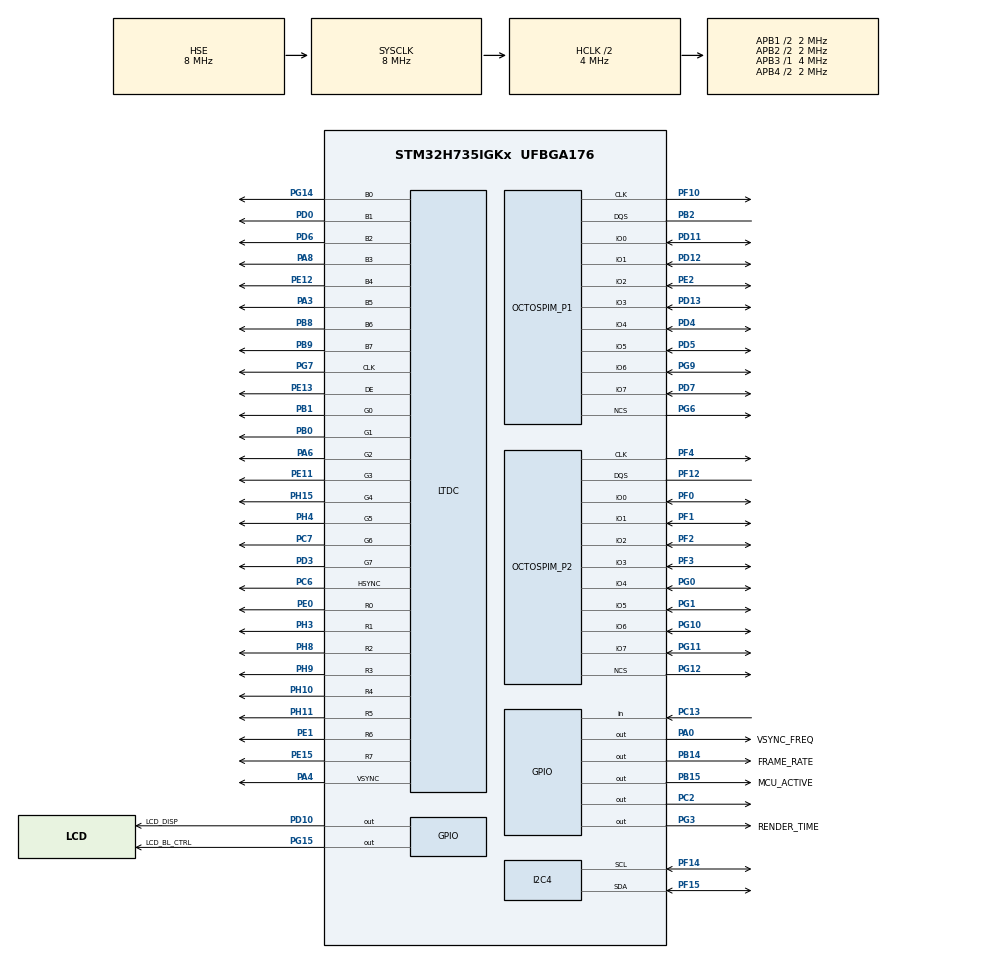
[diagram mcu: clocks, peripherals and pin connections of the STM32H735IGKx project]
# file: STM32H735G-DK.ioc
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CORTEX_M7.AccessPermission-Cortex_Memory_Protection_Unit_Region0_Settings=MPU_REGION_FULL_ACCESS
CORTEX_M7.AccessPermission-Cortex_Memory_Protection_Unit_Region2_Settings=MPU_REGION_FULL_ACCESS
CORTEX_M7.AccessPermission-Cortex_Memory_Protection_Unit_Region4_Settings=MPU_REGION_FULL_ACCESS
CORTEX_M7.BaseAddress-Cortex_Memory_Protection_Unit_Region0_Settings=0x24000000
CORTEX_M7.BaseAddress-Cortex_Memory_Protection_Unit_Region1_Settings=0x70000000
CORTEX_M7.BaseAddress-Cortex_Memory_Protection_Unit_Region2_Settings=0x70000000
CORTEX_M7.BaseAddress-Cortex_Memory_Protection_Unit_Region3_Settings=0x90000000
CORTEX_M7.BaseAddress-Cortex_Memory_Protection_Unit_Region4_Settings=0x90000000
CORTEX_M7.CPU_DCache=Enabled
CORTEX_M7.CPU_ICache=Enabled
CORTEX_M7.DisableExec-Cortex_Memory_Protection_Unit_Region0_Settings=MPU_INSTRUCTION_ACCESS_DISABLE
CORTEX_M7.DisableExec-Cortex_Memory_Protection_Unit_Region1_Settings=MPU_INSTRUCTION_ACCESS_DISABLE
CORTEX_M7.DisableExec-Cortex_Memory_Protection_Unit_Region2_Settings=MPU_INSTRUCTION_ACCESS_DISABLE
CORTEX_M7.DisableExec-Cortex_Memory_Protection_Unit_Region3_Settings=MPU_INSTRUCTION_ACCESS_DISABLE
CORTEX_M7.DisableExec-Cortex_Memory_Protection_Unit_Region4_Settings=MPU_INSTRUCTION_ACCESS_DISABLE
CORTEX_M7.Enable-Cortex_Memory_Protection_Unit_Region0_Settings=MPU_REGION_ENABLE
CORTEX_M7.Enable-Cortex_Memory_Protection_Unit_Region1_Settings=MPU_REGION_ENABLE
CORTEX_M7.Enable-Cortex_Memory_Protection_Unit_Region2_Settings=MPU_REGION_ENABLE
CORTEX_M7.Enable-Cortex_Memory_Protection_Unit_Region3_Settings=MPU_REGION_ENABLE
CORTEX_M7.Enable-Cortex_Memory_Protection_Unit_Region4_Settings=MPU_REGION_ENABLE
CORTEX_M7.IsBufferable-Cortex_Memory_Protection_Unit_Region0_Settings=MPU_ACCESS_BUFFERABLE
CORTEX_M7.IsBufferable-Cortex_Memory_Protection_Unit_Region2_Settings=MPU_ACCESS_BUFFERABLE
CORTEX_M7.IsCacheable-Cortex_Memory_Protection_Unit_Region0_Settings=MPU_ACCESS_CACHEABLE
CORTEX_M7.IsCacheable-Cortex_Memory_Protection_Unit_Region2_Settings=MPU_ACCESS_CACHEABLE
CORTEX_M7.IsCacheable-Cortex_Memory_Protection_Unit_Region4_Settings=MPU_ACCESS_CACHEABLE
CORTEX_M7.MPU_Control=MPU_PRIVILEGED_DEFAULT
CORTEX_M7.Size-Cortex_Memory_Protection_Unit_Region0_Settings=MPU_REGION_SIZE_512KB
CORTEX_M7.Size-Cortex_Memory_Protection_Unit_Region1_Settings=MPU_REGION_SIZE_512MB
CORTEX_M7.Size-Cortex_Memory_Protection_Unit_Region2_Settings=MPU_REGION_SIZE_8MB
CORTEX_M7.Size-Cortex_Memory_Protection_Unit_Region3_Settings=MPU_REGION_SIZE_512MB
CORTEX_M7.Size-Cortex_Memory_Protection_Unit_Region4_Settings=MPU_REGION_SIZE_64MB
DMA2D.ColorMode=DMA2D_OUTPUT_RGB888
DMA2D.Mode=DMA2D_R2M
FREERTOS.Tasks01=defaultTask,24,128,StartDefaultTask,Default,NULL,Dynamic,NULL,NULL;TouchGFXTask,24,1024,TouchGFX_Task,As external,NULL,Dynamic,NULL,NULL;videoTask,8,1024,videoTaskFunc,As external,NULL,Dynamic,NULL,NULL
FREERTOS.configTOTAL_HEAP_SIZE=75000
FREERTOS.configUSE_APPLICATION_TASK_TAG=1
FREERTOS.configUSE_IDLE_HOOK=1
I2C4.Timing=0x00000509
LIBJPEG.RGB_ORDERING=BGR
LTDC.ActiveH=272
LTDC.ActiveW=480
LTDC.Alpha_L0=255
LTDC.FBStartAdress_L0=0x70000000
LTDC.FBStartAdress_L1=0x70000000
LTDC.HBP=13
LTDC.HFP=32
LTDC.HSync=41
LTDC.ImageHeight_L0=272
LTDC.ImageWidth_L0=480
LTDC.Layers=0
LTDC.PixelFormat_L0=LTDC_PIXEL_FORMAT_RGB888
LTDC.VSync=10
LTDC.WindowX1_L0=480
LTDC.WindowY1_L0=272
Mcu.Family=STM32H7
Mcu.Name=STM32H735IGKx
Mcu.Package=UFBGA176
NVIC.DMA2D_IRQn=true\:5\:0\:true\:false\:true\:false\:true\:true\:true
NVIC.LTDC_IRQn=true\:5\:0\:true\:false\:true\:false\:true\:true\:true
NVIC.PVD_AVD_IRQn=true\:5\:0\:false\:false\:true\:true\:true\:true\:true
NVIC.PriorityGroup=NVIC_PRIORITYGROUP_4
NVIC.TIM6_DAC_IRQn=true\:0\:0\:false\:false\:true\:false\:false\:true\:true
NVIC.TimeBase=TIM6_DAC_IRQn
NVIC.TimeBaseIP=TIM6
OCTOSPI1.ChipSelectBoundary=0
OCTOSPI1.ChipSelectHighTime=2
OCTOSPI1.ClockPrescaler=2
OCTOSPI1.FifoThreshold=4
OCTOSPI1.MemoryType=HAL_OSPI_MEMTYPE_MACRONIX
OCTOSPI2.AccessTime=6
OCTOSPI2.ChipSelectBoundary=23
OCTOSPI2.ChipSelectHighTime=4
OCTOSPI2.ClkChipSelectHighTime=0
OCTOSPI2.ClockPrescaler=2
OCTOSPI2.DelayBlockBypass=HAL_OSPI_DELAY_BLOCK_USED
OCTOSPI2.DelayHoldQuarterCycle=HAL_OSPI_DHQC_ENABLE
OCTOSPI2.DeviceSize=24
OCTOSPI2.FifoThreshold=4
OCTOSPI2.LatencyMode=HAL_OSPI_FIXED_LATENCY
OCTOSPI2.RWRecoveryTime=3
OCTOSPI2.Refresh=400
OCTOSPI2.WriteZeroLatency=HAL_OSPI_LATENCY_ON_WRITE
PA0.GPIO_Label=VSYNC_FREQ
PA0.GPIO_Speed=GPIO_SPEED_FREQ_VERY_HIGH
PA0.Signal=GPIO_Output
PA3.GPIO_Speed=GPIO_SPEED_FREQ_VERY_HIGH
PA3.Mode=RGB888
PA3.Signal=LTDC_B5
PA4.GPIO_Speed=GPIO_SPEED_FREQ_VERY_HIGH
PA4.Mode=RGB888
PA4.Signal=LTDC_VSYNC
PA6.GPIO_Speed=GPIO_SPEED_FREQ_VERY_HIGH
PA6.Mode=RGB888
PA6.Signal=LTDC_G2
PA8.GPIO_Speed=GPIO_SPEED_FREQ_VERY_HIGH
PA8.Mode=RGB888
PA8.Signal=LTDC_B3
PB0.GPIO_Speed=GPIO_SPEED_FREQ_VERY_HIGH
PB0.Mode=RGB888
PB0.Signal=LTDC_G1
PB1.GPIO_Speed=GPIO_SPEED_FREQ_VERY_HIGH
PB1.Mode=RGB888
PB1.Signal=LTDC_G0
PB14.GPIO_Label=FRAME_RATE
PB14.GPIO_Speed=GPIO_SPEED_FREQ_VERY_HIGH
PB14.Signal=GPIO_Output
PB15.GPIO_Label=MCU_ACTIVE
PB15.GPIO_Speed=GPIO_SPEED_FREQ_VERY_HIGH
PB15.Signal=GPIO_Output
PB2.Mode=OCTOSPI1_Port1_DQS
PB2.Signal=OCTOSPIM_P1_DQS
PB8.GPIO_Speed=GPIO_SPEED_FREQ_VERY_HIGH
PB8.Mode=RGB888
PB8.Signal=LTDC_B6
PB9.GPIO_Speed=GPIO_SPEED_FREQ_VERY_HIGH
PB9.Mode=RGB888
PB9.Signal=LTDC_B7
PC13.Signal=GPIO_Input
PC2.PinState=GPIO_PIN_SET
PC2.Signal=GPIO_Output
PC6.GPIO_Speed=GPIO_SPEED_FREQ_VERY_HIGH
PC6.Mode=RGB888
PC6.Signal=LTDC_HSYNC
PC7.GPIO_Speed=GPIO_SPEED_FREQ_VERY_HIGH
PC7.Mode=RGB888
PC7.Signal=LTDC_G6
PD0.GPIO_Speed=GPIO_SPEED_FREQ_VERY_HIGH
PD0.Mode=RGB888
PD0.Signal=LTDC_B1
PD10.GPIO_Label=LCD_DISP
PD10.GPIO_PuPd=GPIO_NOPULL
PD10.GPIO_Speed=GPIO_SPEED_FREQ_LOW
PD10.PinState=GPIO_PIN_RESET
PD10.Signal=GPIO_Output
PD11.Mode=OCTOSPI1_IOL_Port1L
PD11.Signal=OCTOSPIM_P1_IO0
PD12.Mode=OCTOSPI1_IOL_Port1L
PD12.Signal=OCTOSPIM_P1_IO1
PD13.Mode=OCTOSPI1_IOL_Port1L
PD13.Signal=OCTOSPIM_P1_IO3
PD3.GPIO_Speed=GPIO_SPEED_FREQ_VERY_HIGH
PD3.Mode=RGB888
PD3.Signal=LTDC_G7
PD4.Mode=OCTOSPI1_IOH_Port1H
PD4.Signal=OCTOSPIM_P1_IO4
PD5.Mode=OCTOSPI1_IOH_Port1H
PD5.Signal=OCTOSPIM_P1_IO5
PD6.GPIO_Speed=GPIO_SPEED_FREQ_VERY_HIGH
PD6.Mode=RGB888
PD6.Signal=LTDC_B2
PD7.Mode=OCTOSPI1_IOH_Port1H
PD7.Signal=OCTOSPIM_P1_IO7
PE0.GPIO_Speed=GPIO_SPEED_FREQ_VERY_HIGH
PE0.Mode=RGB888
PE0.Signal=LTDC_R0
PE1.GPIO_Speed=GPIO_SPEED_FREQ_VERY_HIGH
PE1.Mode=RGB888
PE1.Signal=LTDC_R6
PE11.GPIO_Speed=GPIO_SPEED_FREQ_VERY_HIGH
PE11.Mode=RGB888
PE11.Signal=LTDC_G3
PE12.GPIO_Speed=GPIO_SPEED_FREQ_VERY_HIGH
PE12.Mode=RGB888
PE12.Signal=LTDC_B4
PE13.GPIO_Speed=GPIO_SPEED_FREQ_VERY_HIGH
PE13.Mode=RGB888
PE13.Signal=LTDC_DE
PE15.GPIO_Speed=GPIO_SPEED_FREQ_VERY_HIGH
PE15.Mode=RGB888
PE15.Signal=LTDC_R7
PE2.Mode=OCTOSPI1_IOL_Port1L
PE2.Signal=OCTOSPIM_P1_IO2
PF0.Mode=OCTOSPI2_IOL_Port2L
PF0.Signal=OCTOSPIM_P2_IO0
PF1.Mode=OCTOSPI2_IOL_Port2L
PF1.Signal=OCTOSPIM_P2_IO1
PF10.Mode=O1_P1_CLK
PF10.Signal=OCTOSPIM_P1_CLK
PF12.Mode=OCTOSPI2_Port2_DQS
PF12.Signal=OCTOSPIM_P2_DQS
PF14.Mode=I2C
PF14.Signal=I2C4_SCL
PF15.Mode=I2C
PF15.Signal=I2C4_SDA
PF2.Mode=OCTOSPI2_IOL_Port2L
PF2.Signal=OCTOSPIM_P2_IO2
PF3.Mode=OCTOSPI2_IOL_Port2L
PF3.Signal=OCTOSPIM_P2_IO3
PF4.Mode=O2_P2_CLK
PF4.Signal=OCTOSPIM_P2_CLK
PG0.Mode=OCTOSPI2_IOH_Port2H
PG0.Signal=OCTOSPIM_P2_IO4
PG1.Mode=OCTOSPI2_IOH_Port2H
PG1.Signal=OCTOSPIM_P2_IO5
PG10.Mode=OCTOSPI2_IOH_Port2H
PG10.Signal=OCTOSPIM_P2_IO6
PG11.Mode=OCTOSPI2_IOH_Port2H
PG11.Signal=OCTOSPIM_P2_IO7
PG12.Mode=OCTOSPI2_Port2_NCS
PG12.Signal=OCTOSPIM_P2_NCS
PG14.GPIO_Speed=GPIO_SPEED_FREQ_VERY_HIGH
PG14.Mode=RGB888
PG14.Signal=LTDC_B0
PG15.GPIO_Label=LCD_BL_CTRL
PG15.Signal=GPIO_Output
PG3.GPIO_Label=RENDER_TIME
PG3.GPIO_Speed=GPIO_SPEED_FREQ_VERY_HIGH
PG3.Signal=GPIO_Output
PG6.Mode=OCTOSPI1_Port1_NCS
PG6.Signal=OCTOSPIM_P1_NCS
PG7.GPIO_Speed=GPIO_SPEED_FREQ_VERY_HIGH
PG7.Mode=RGB888
PG7.Signal=LTDC_CLK
PG9.Mode=OCTOSPI1_IOH_Port1H
PG9.Signal=OCTOSPIM_P1_IO6
PH0-OSC_IN.Mode=HSE-External-Oscillator
PH0-OSC_IN.Signal=RCC_OSC_IN
PH1-OSC_OUT.Mode=HSE-External-Oscillator
PH1-OSC_OUT.Signal=RCC_OSC_OUT
PH10.GPIO_Speed=GPIO_SPEED_FREQ_VERY_HIGH
PH10.Mode=RGB888
PH10.Signal=LTDC_R4
PH11.GPIO_Speed=GPIO_SPEED_FREQ_VERY_HIGH
PH11.Mode=RGB888
PH11.Signal=LTDC_R5
PH15.GPIO_Speed=GPIO_SPEED_FREQ_VERY_HIGH
PH15.Mode=RGB888
PH15.Signal=LTDC_G4
PH3.GPIO_Speed=GPIO_SPEED_FREQ_VERY_HIGH
PH3.Mode=RGB888
PH3.Signal=LTDC_R1
PH4.GPIO_Speed=GPIO_SPEED_FREQ_VERY_HIGH
PH4.Mode=RGB888
PH4.Signal=LTDC_G5
PH8.GPIO_Speed=GPIO_SPEED_FREQ_VERY_HIGH
PH8.Mode=RGB888
PH8.Signal=LTDC_R2
PH9.GPIO_Speed=GPIO_SPEED_FREQ_VERY_HIGH
PH9.Mode=RGB888
PH9.Signal=LTDC_R3
ProjectManager.HeapSize=0x1000
ProjectManager.StackSize=0x1000
ProjectManager.TargetToolchain=STM32CubeIDE
RCC.ADCFreq_Value=75200000
RCC.APB1Freq_Value=2000000
RCC.APB2Freq_Value=2000000
RCC.APB3Freq_Value=4000000
RCC.APB4Freq_Value=2000000
RCC.CortexFreq_Value=8000000
RCC.D2PPRE1=RCC_APB1_DIV2
RCC.D2PPRE2=RCC_APB2_DIV2
RCC.D3PPRE=RCC_APB4_DIV2
RCC.DIVM1=1
RCC.DIVM2=5
RCC.DIVM3=25
RCC.DIVN1=60
RCC.DIVN2=94
RCC.DIVN3=288
RCC.DIVR3=30
RCC.HCLKFreq_Value=4000000
RCC.HPRE=RCC_HCLK_DIV2
RCC.HSE_VALUE=8000000
RCC.PLL2FRACN=0
RCC.PLL3FRACN=0
RCC.PLLFRACN=0
RCC.PLLSourceVirtual=RCC_PLLSOURCE_HSE
RCC.QSPICLockSelection=RCC_OSPICLKSOURCE_PLL2
RCC.SYSCLKFreq_VALUE=8000000
RCC.SYSCLKSource=RCC_SYSCLKSOURCE_HSE
RCC.SupplySource=PWR_DIRECT_SMPS_SUPPLY
RCC.USBFreq_Value=240000000
STMicroelectronics.X-CUBE-TOUCHGFX.4.24.1.ApplicationCcGraphicsJjApplication=TouchGFXOoGenerator
STMicroelectronics.X-CUBE-TOUCHGFX.4.24.1.tgfx_address1=0x70000000
STMicroelectronics.X-CUBE-TOUCHGFX.4.24.1.tgfx_address2=0x70060000
STMicroelectronics.X-CUBE-TOUCHGFX.4.24.1.tgfx_buffering_strategy=Double
STMicroelectronics.X-CUBE-TOUCHGFX.4.24.1.tgfx_display_interface=disp_ltdc
STMicroelectronics.X-CUBE-TOUCHGFX.4.24.1.tgfx_hardware_accelerator=dma_2d
STMicroelectronics.X-CUBE-TOUCHGFX.4.24.1.tgfx_location=Allocate
STMicroelectronics.X-CUBE-TOUCHGFX.4.24.1.tgfx_vector_fonts=Enabled
STMicroelectronics.X-CUBE-TOUCHGFX.4.24.1.tgfx_vector_rendering=Software
STMicroelectronics.X-CUBE-TOUCHGFX.4.24.1.tgfx_video=Software
STMicroelectronics.X-CUBE-TOUCHGFX.4.24.1.tgfx_video_buffer_format=RGB888\:3
STMicroelectronics.X-CUBE-TOUCHGFX.4.24.1.tgfx_video_height=272
STMicroelectronics.X-CUBE-TOUCHGFX.4.24.1.tgfx_video_strategy=1
STMicroelectronics.X-CUBE-TOUCHGFX.4.24.1.tgfx_video_width=480
STMicroelectronics.X-CUBE-TOUCHGFX.4.24.1.tgfx_vsync=vsync_ltdc
VP_CRC_VS_CRC.Mode=CRC_Activate
VP_DMA2D_VS_DMA2D.Mode=DMA2D_Activate
VP_FREERTOS_VS_CMSIS_V2.Mode=CMSIS_V2
VP_LIBJPEG_VS_JPEGLIB.Mode=Enabled
VP_MEMORYMAP_VS_MEMORYMAP.Mode=CurAppReg
VP_OCTOSPI1_VS_octo.Mode=octo_mode
VP_OCTOSPI2_VS_octo.Mode=hyperbus_mode
VP_STMicroelectronics.X-CUBE-TOUCHGFX_VS_GraphicsJjApplication_4.24.1.Mode=GraphicsJjApplication
VP_SYS_VS_tim6.Mode=TIM6
board=custom

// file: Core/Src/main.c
/* USER CODE BEGIN Header */
/**
  ******************************************************************************
  * @file           : main.c
  * @brief          : Main program body
  ******************************************************************************
  * @attention
  *
  * <h2><center>&copy; Copyright (c) 2020 STMicroelectronics.
  * All rights reserved.</center></h2>
  *
  * This software component is licensed by ST under Ultimate Liberty license
  * SLA0044, the "License"; You may not use this file except in compliance with
  * the License. You may obtain a copy of the License at:
  *                             www.st.com/SLA0044
  *
  ******************************************************************************
  */
/* USER CODE END Header */
#include "main.h"
#include "cmsis_os.h"
#include "libjpeg.h"
#include "app_touchgfx.h"
#include "../../../../STM32CubeIDE/Application/User/Core/PressureSensor.hpp"
#include <string.h>
#include <stdio.h>
#include "stm32h7xx.h"
#include "stm32h7xx_hal.h"
#include "stm32h7xx_hal_dma2d.h"
#include "stm32h7xx_hal_def.h"
#include <stdbool.h>
/* USER CODE BEGIN Includes */
#include "stm32h735g_discovery_ospi.h"

/* USER CODE END Includes */

CRC_HandleTypeDef hcrc;

DMA2D_HandleTypeDef hdma2d;

I2C_HandleTypeDef hi2c4;

LTDC_HandleTypeDef hltdc;

OSPI_HandleTypeDef hospi1;
OSPI_HandleTypeDef hospi2;

/* Definitions for defaultTask */
osThreadId_t defaultTaskHandle;

#define OUTPUT_MAX 15099494  // 90% of 24-bit max
#define OUTPUT_MIN 1677722   // 10% of 24-bit max
#define P_MAX 25           // Maximum pressure in psi (change as needed)
#define P_MIN 0           // Minimum pressure in psi (change as needed)

#define PRESSURE_THRESHOLD 250.0f  // threshold in mmHg

#define GRAPH_MAX_PIXEL 700   // Display y-axis range (0-100 pixels)

//for the buffer
#define MAX_DATA_POINTS 100  // Maximum number of points to store
#define DATA_UPDATE_RATE 100 // Update rate in milliseconds
#define DISPLAY_WINDOW 100      // Number of points to display at once
#define PSI_TO_MMHG 51.715  // Conversion factor from psi to mmHg

int32_t pressure = 0;
float calculated_pressure = 0.0;
uint16_t scaled_pressure = 0;     // Scaled pressure for display
// Global variable for scaled pressure
float pressure_mmhg = 0.0; // Add a global or local variable for mmHg
float Calibration_value = 0.0;

typedef struct {
   float pressure_values[MAX_DATA_POINTS];
   int write_index;
   int read_index;
   bool buffer_full;
 } PressureBuffer;
PressureBuffer pressure_buffer = {0};

// Definitions for PressureTask
osThreadId_t pressureTaskHandle;
const osThreadAttr_t pressureTask_attributes = {
  .name = "pressureTask",
  .stack_size = 128 * 4,
  .priority = (osPriority_t) osPriorityNormal,
};

const osThreadAttr_t defaultTask_attributes = {
  .name = "defaultTask",
  .stack_size = 128 * 4,
  .priority = (osPriority_t) osPriorityNormal,
};
/* Definitions for TouchGFXTask */
osThreadId_t TouchGFXTaskHandle;
const osThreadAttr_t TouchGFXTask_attributes = {
  .name = "TouchGFXTask",
  .stack_size = 1024 * 4,
  .priority = (osPriority_t) osPriorityNormal,
};
/* Definitions for videoTask */
osThreadId_t videoTaskHandle;
const osThreadAttr_t videoTask_attributes = {
  .name = "videoTask",
  .stack_size = 1024 * 4,
  .priority = (osPriority_t) osPriorityLow,
};
/* USER CODE BEGIN PV */
// Constants based on sensor specifications

/* USER CODE END PV */

void SystemClock_Config(void);
void PeriphCommonClock_Config(void);
static void MPU_Config(void);
static void MX_GPIO_Init(void);
static void MX_CRC_Init(void);
static void MX_DMA2D_Init(void);
static void MX_LTDC_Init(void);
static void MX_OCTOSPI1_Init(void);
static void MX_OCTOSPI2_Init(void);
static void MX_I2C4_Init(void);
void StartPressureTask(void *argument);
void ConvertToPressure(int32_t raw_output);
void CalibrateSensor();
uint16_t ScalePressureForDisplay(float pressure);
void StartDefaultTask(void *argument);
extern void TouchGFX_Task(void *argument);
extern void videoTaskFunc(void *argument);

/* USER CODE BEGIN PFP */
//static uint8_t screenOn = 1; // 1 = Screen on, 0 = Screen off

/* USER CODE END PFP */

int main(void)
{

  /* MPU Configuration--------------------------------------------------------*/  MPU_Config();

  /* Enable the CPU Cache */

  /* Enable I-Cache---------------------------------------------------------*/
  SCB_EnableICache();

  /* Enable D-Cache---------------------------------------------------------*/
  SCB_EnableDCache();

  /* MCU Configuration--------------------------------------------------------*/

  /* Reset of all peripherals, Initializes the Flash interface and the Systick. */
  HAL_Init();

  /* Configure the system clock */
  SystemClock_Config();

  /* Configure the peripherals common clocks */
  PeriphCommonClock_Config();

  /* Initialize all configured peripherals */
  MX_GPIO_Init();
  MX_CRC_Init();
  MX_DMA2D_Init();
  MX_LTDC_Init();
  MX_OCTOSPI1_Init();
  MX_OCTOSPI2_Init();
  MX_LIBJPEG_Init();
  MX_I2C4_Init();
  MX_TouchGFX_Init();
  /* Call PreOsInit function */
  MX_TouchGFX_PreOSInit();

  /* Init scheduler */
  osKernelInitialize();

  /* Create the thread(s) */
  /* creation of defaultTask */
  defaultTaskHandle = osThreadNew(StartDefaultTask, NULL, &defaultTask_attributes);

  /* creation of TouchGFXTask */
  TouchGFXTaskHandle = osThreadNew(TouchGFX_Task, NULL, &TouchGFXTask_attributes);

  /* creation of videoTask */
  videoTaskHandle = osThreadNew(videoTaskFunc, NULL, &videoTask_attributes);

  /* USER CODE BEGIN RTOS_THREADS */
  /* add threads, ... */
  // Create the Pressure Task
  pressureTaskHandle = osThreadNew(StartPressureTask, NULL, &pressureTask_attributes);

  /* USER CODE END RTOS_THREADS */

  /* Start scheduler */
  osKernelStart();

  /* We should never get here as control is now taken by the scheduler */

  /* Infinite loop */
  while (1)
  {

  }
}

void SystemClock_Config(void)
{
  RCC_OscInitTypeDef RCC_OscInitStruct = {0};
  RCC_ClkInitTypeDef RCC_ClkInitStruct = {0};

  /** Supply configuration update enable
  */
  HAL_PWREx_ConfigSupply(PWR_DIRECT_SMPS_SUPPLY);

  /** Configure the main internal regulator output voltage
  */
  __HAL_PWR_VOLTAGESCALING_CONFIG(PWR_REGULATOR_VOLTAGE_SCALE3);

  while(!__HAL_PWR_GET_FLAG(PWR_FLAG_VOSRDY)) {}

  /** Macro to configure the PLL clock source
  */
  __HAL_RCC_PLL_PLLSOURCE_CONFIG(RCC_PLLSOURCE_HSE);

  /** Initializes the RCC Oscillators according to the specified parameters
  * in the RCC_OscInitTypeDef structure.
  */
  RCC_OscInitStruct.OscillatorType = RCC_OSCILLATORTYPE_HSE;
  RCC_OscInitStruct.HSEState = RCC_HSE_ON;
  RCC_OscInitStruct.PLL.PLLState = RCC_PLL_NONE;
  if (HAL_RCC_OscConfig(&RCC_OscInitStruct) != HAL_OK)
  {
    Error_Handler();
  }

  /** Initializes the CPU, AHB and APB buses clocks
  */
  RCC_ClkInitStruct.ClockType = RCC_CLOCKTYPE_HCLK|RCC_CLOCKTYPE_SYSCLK
                              |RCC_CLOCKTYPE_PCLK1|RCC_CLOCKTYPE_PCLK2
                              |RCC_CLOCKTYPE_D3PCLK1|RCC_CLOCKTYPE_D1PCLK1;
  RCC_ClkInitStruct.SYSCLKSource = RCC_SYSCLKSOURCE_HSE;
  RCC_ClkInitStruct.SYSCLKDivider = RCC_SYSCLK_DIV1;
  RCC_ClkInitStruct.AHBCLKDivider = RCC_HCLK_DIV2;
  RCC_ClkInitStruct.APB3CLKDivider = RCC_APB3_DIV1;
  RCC_ClkInitStruct.APB1CLKDivider = RCC_APB1_DIV2;
  RCC_ClkInitStruct.APB2CLKDivider = RCC_APB2_DIV2;
  RCC_ClkInitStruct.APB4CLKDivider = RCC_APB4_DIV2;

  if (HAL_RCC_ClockConfig(&RCC_ClkInitStruct, FLASH_LATENCY_0) != HAL_OK)
  {
    Error_Handler();
  }
}

void PeriphCommonClock_Config(void)
{
  RCC_PeriphCLKInitTypeDef PeriphClkInitStruct = {0};

  /** Initializes the peripherals clock
  */
  PeriphClkInitStruct.PeriphClockSelection = RCC_PERIPHCLK_OSPI;
  PeriphClkInitStruct.PLL2.PLL2M = 5;
  PeriphClkInitStruct.PLL2.PLL2N = 94;
  PeriphClkInitStruct.PLL2.PLL2P = 2;
  PeriphClkInitStruct.PLL2.PLL2Q = 2;
  PeriphClkInitStruct.PLL2.PLL2R = 2;
  PeriphClkInitStruct.PLL2.PLL2RGE = RCC_PLL2VCIRANGE_0;
  PeriphClkInitStruct.PLL2.PLL2VCOSEL = RCC_PLL2VCOMEDIUM;
  PeriphClkInitStruct.PLL2.PLL2FRACN = 0;
  PeriphClkInitStruct.OspiClockSelection = RCC_OSPICLKSOURCE_PLL2;
  if (HAL_RCCEx_PeriphCLKConfig(&PeriphClkInitStruct) != HAL_OK)
  {
    Error_Handler();
  }
}

static void MX_CRC_Init(void)
{

  /* USER CODE BEGIN CRC_Init 1 */
	void EXTI15_10_IRQHandler(void) {
	    if (__HAL_GPIO_EXTI_GET_IT(GPIO_PIN_13) != RESET) {  // Check if EXTI triggered for PC13
	        __HAL_GPIO_EXTI_CLEAR_IT(GPIO_PIN_13);           // Clear the interrupt flag

	        toggleScreen();  // Call the toggle function
	    }
	}

  /* USER CODE END CRC_Init 1 */
  hcrc.Instance = CRC;
  hcrc.Init.DefaultPolynomialUse = DEFAULT_POLYNOMIAL_ENABLE;
  hcrc.Init.DefaultInitValueUse = DEFAULT_INIT_VALUE_ENABLE;
  hcrc.Init.InputDataInversionMode = CRC_INPUTDATA_INVERSION_NONE;
  hcrc.Init.OutputDataInversionMode = CRC_OUTPUTDATA_INVERSION_DISABLE;
  hcrc.InputDataFormat = CRC_INPUTDATA_FORMAT_BYTES;
  if (HAL_CRC_Init(&hcrc) != HAL_OK)
  {
    Error_Handler();
  }

}

static void MX_DMA2D_Init(void)
{

  hdma2d.Instance = DMA2D;
  hdma2d.Init.Mode = DMA2D_R2M;
  hdma2d.Init.ColorMode = DMA2D_OUTPUT_RGB888;
  hdma2d.Init.OutputOffset = 0;
  if (HAL_DMA2D_Init(&hdma2d) != HAL_OK)
  {
    Error_Handler();
  }

}

static void MX_I2C4_Init(void)
{

  hi2c4.Instance = I2C4;
  hi2c4.Init.Timing = 0x00000509;
  hi2c4.Init.OwnAddress1 = 0;
  hi2c4.Init.AddressingMode = I2C_ADDRESSINGMODE_7BIT;
  hi2c4.Init.DualAddressMode = I2C_DUALADDRESS_DISABLE;
  hi2c4.Init.OwnAddress2 = 0;
  hi2c4.Init.OwnAddress2Masks = I2C_OA2_NOMASK;
  hi2c4.Init.GeneralCallMode = I2C_GENERALCALL_DISABLE;
  hi2c4.Init.NoStretchMode = I2C_NOSTRETCH_DISABLE;
  if (HAL_I2C_Init(&hi2c4) != HAL_OK)
  {
    Error_Handler();
  }

  /** Configure Analogue filter
  */
  if (HAL_I2CEx_ConfigAnalogFilter(&hi2c4, I2C_ANALOGFILTER_ENABLE) != HAL_OK)
  {
    Error_Handler();
  }

  /** Configure Digital filter
  */
  if (HAL_I2CEx_ConfigDigitalFilter(&hi2c4, 0) != HAL_OK)
  {
    Error_Handler();
  }

}

static void MX_LTDC_Init(void)
{

  LTDC_LayerCfgTypeDef pLayerCfg = {0};

  hltdc.Instance = LTDC;
  hltdc.Init.HSPolarity = LTDC_HSPOLARITY_AL;
  hltdc.Init.VSPolarity = LTDC_VSPOLARITY_AL;
  hltdc.Init.DEPolarity = LTDC_DEPOLARITY_AL;
  hltdc.Init.PCPolarity = LTDC_PCPOLARITY_IPC;
  hltdc.Init.HorizontalSync = 40;
  hltdc.Init.VerticalSync = 9;
  hltdc.Init.AccumulatedHBP = 53;
  hltdc.Init.AccumulatedVBP = 11;
  hltdc.Init.AccumulatedActiveW = 533;
  hltdc.Init.AccumulatedActiveH = 283;
  hltdc.Init.TotalWidth = 565;
  hltdc.Init.TotalHeigh = 285;
  hltdc.Init.Backcolor.Blue = 0;
  hltdc.Init.Backcolor.Green = 0;
  hltdc.Init.Backcolor.Red = 0;
  if (HAL_LTDC_Init(&hltdc) != HAL_OK)
  {
    Error_Handler();
  }
  pLayerCfg.WindowX0 = 0;
  pLayerCfg.WindowX1 = 480;
  pLayerCfg.WindowY0 = 0;
  pLayerCfg.WindowY1 = 272;
  pLayerCfg.PixelFormat = LTDC_PIXEL_FORMAT_RGB888;
  pLayerCfg.Alpha = 255;
  pLayerCfg.Alpha0 = 0;
  pLayerCfg.BlendingFactor1 = LTDC_BLENDING_FACTOR1_CA;
  pLayerCfg.BlendingFactor2 = LTDC_BLENDING_FACTOR2_CA;
  pLayerCfg.FBStartAdress = 0x70000000;
  pLayerCfg.ImageWidth = 480;
  pLayerCfg.ImageHeight = 272;
  pLayerCfg.Backcolor.Blue = 0;
  pLayerCfg.Backcolor.Green = 0;
  pLayerCfg.Backcolor.Red = 0;
  if (HAL_LTDC_ConfigLayer(&hltdc, &pLayerCfg, 0) != HAL_OK)
  {
    Error_Handler();
  }

}

static void MX_OCTOSPI1_Init(void)
{

  /* USER CODE BEGIN OCTOSPI1_Init 0 */
  BSP_OSPI_NOR_Init_t ospi_nor_int;
  /* USER CODE END OCTOSPI1_Init 0 */

  OSPIM_CfgTypeDef sOspiManagerCfg = {0};

  /* OCTOSPI1 parameter configuration*/
  hospi1.Instance = OCTOSPI1;
  hospi1.Init.FifoThreshold = 4;
  hospi1.Init.DualQuad = HAL_OSPI_DUALQUAD_DISABLE;
  hospi1.Init.MemoryType = HAL_OSPI_MEMTYPE_MACRONIX;
  hospi1.Init.DeviceSize = 32;
  hospi1.Init.ChipSelectHighTime = 2;
  hospi1.Init.FreeRunningClock = HAL_OSPI_FREERUNCLK_DISABLE;
  hospi1.Init.ClockMode = HAL_OSPI_CLOCK_MODE_0;
  hospi1.Init.WrapSize = HAL_OSPI_WRAP_NOT_SUPPORTED;
  hospi1.Init.ClockPrescaler = 2;
  hospi1.Init.SampleShifting = HAL_OSPI_SAMPLE_SHIFTING_NONE;
  hospi1.Init.DelayHoldQuarterCycle = HAL_OSPI_DHQC_DISABLE;
  hospi1.Init.ChipSelectBoundary = 0;
  hospi1.Init.DelayBlockBypass = HAL_OSPI_DELAY_BLOCK_BYPASSED;
  hospi1.Init.MaxTran = 0;
  hospi1.Init.Refresh = 0;
  if (HAL_OSPI_Init(&hospi1) != HAL_OK)
  {
    Error_Handler();
  }
  sOspiManagerCfg.ClkPort = 1;
  sOspiManagerCfg.DQSPort = 1;
  sOspiManagerCfg.NCSPort = 1;
  sOspiManagerCfg.IOLowPort = HAL_OSPIM_IOPORT_1_LOW;
  sOspiManagerCfg.IOHighPort = HAL_OSPIM_IOPORT_1_HIGH;
  if (HAL_OSPIM_Config(&hospi1, &sOspiManagerCfg, HAL_OSPI_TIMEOUT_DEFAULT_VALUE) != HAL_OK)
  {
    Error_Handler();
  }
  /* USER CODE BEGIN OCTOSPI1_Init 2 */
  HAL_OSPI_DeInit(&hospi1);
  ospi_nor_int.InterfaceMode = BSP_OSPI_NOR_OPI_MODE;
  ospi_nor_int.TransferRate  = BSP_OSPI_NOR_DTR_TRANSFER;
  BSP_OSPI_NOR_DeInit(0);
  if(BSP_OSPI_NOR_Init(0, &ospi_nor_int) != BSP_ERROR_NONE)
  {
    Error_Handler();
  }
  if(BSP_OSPI_NOR_EnableMemoryMappedMode(0) != BSP_ERROR_NONE)
  {
    Error_Handler();
  }
  /* USER CODE END OCTOSPI1_Init 2 */

}

static void MX_OCTOSPI2_Init(void)
{

  /* USER CODE BEGIN OCTOSPI2_Init 0 */
  BSP_OSPI_RAM_Init_t ospi_ram_init;
  /* USER CODE END OCTOSPI2_Init 0 */

  OSPIM_CfgTypeDef sOspiManagerCfg = {0};
  OSPI_HyperbusCfgTypeDef sHyperBusCfg = {0};

  /* USER CODE BEGIN OCTOSPI2_Init 1 */
  OSPI_HyperbusCmdTypeDef sCommand = {0};
  OSPI_MemoryMappedTypeDef sMemMappedCfg = {0};
  /* USER CODE END OCTOSPI2_Init 1 */
  /* OCTOSPI2 parameter configuration*/
  hospi2.Instance = OCTOSPI2;
  hospi2.Init.FifoThreshold = 4;
  hospi2.Init.DualQuad = HAL_OSPI_DUALQUAD_DISABLE;
  hospi2.Init.MemoryType = HAL_OSPI_MEMTYPE_HYPERBUS;
  hospi2.Init.DeviceSize = 24;
  hospi2.Init.ChipSelectHighTime = 4;
  hospi2.Init.FreeRunningClock = HAL_OSPI_FREERUNCLK_DISABLE;
  hospi2.Init.ClockMode = HAL_OSPI_CLOCK_MODE_0;
  hospi2.Init.WrapSize = HAL_OSPI_WRAP_NOT_SUPPORTED;
  hospi2.Init.ClockPrescaler = 2;
  hospi2.Init.SampleShifting = HAL_OSPI_SAMPLE_SHIFTING_NONE;
  hospi2.Init.DelayHoldQuarterCycle = HAL_OSPI_DHQC_ENABLE;
  hospi2.Init.ChipSelectBoundary = 23;
  hospi2.Init.DelayBlockBypass = HAL_OSPI_DELAY_BLOCK_USED;
  hospi2.Init.MaxTran = 0;
  hospi2.Init.Refresh = 400;
  if (HAL_OSPI_Init(&hospi2) != HAL_OK)
  {
    Error_Handler();
  }
  sOspiManagerCfg.ClkPort = 2;
  sOspiManagerCfg.DQSPort = 2;
  sOspiManagerCfg.NCSPort = 2;
  sOspiManagerCfg.IOLowPort = HAL_OSPIM_IOPORT_2_LOW;
  sOspiManagerCfg.IOHighPort = HAL_OSPIM_IOPORT_2_HIGH;
  if (HAL_OSPIM_Config(&hospi2, &sOspiManagerCfg, HAL_OSPI_TIMEOUT_DEFAULT_VALUE) != HAL_OK)
  {
    Error_Handler();
  }
  sHyperBusCfg.RWRecoveryTime = 3;
  sHyperBusCfg.AccessTime = 6;
  sHyperBusCfg.WriteZeroLatency = HAL_OSPI_LATENCY_ON_WRITE;
  sHyperBusCfg.LatencyMode = HAL_OSPI_FIXED_LATENCY;
  if (HAL_OSPI_HyperbusCfg(&hospi2, &sHyperBusCfg, HAL_OSPI_TIMEOUT_DEFAULT_VALUE) != HAL_OK)
  {
    Error_Handler();
  }
  /* USER CODE BEGIN OCTOSPI2_Init 2 */
  sCommand.AddressSpace = HAL_OSPI_MEMORY_ADDRESS_SPACE;
  sCommand.AddressSize  = HAL_OSPI_ADDRESS_32_BITS;
  sCommand.DQSMode      = HAL_OSPI_DQS_ENABLE;
  sCommand.Address      = 0;
  sCommand.NbData       = 1;

  if (HAL_OSPI_HyperbusCmd(&hospi2, &sCommand, HAL_OSPI_TIMEOUT_DEFAULT_VALUE) != HAL_OK)
  {
    Error_Handler();
  }

  sMemMappedCfg.TimeOutActivation = HAL_OSPI_TIMEOUT_COUNTER_DISABLE;

  if (HAL_OSPI_MemoryMapped(&hospi2, &sMemMappedCfg) != HAL_OK)
  {
    Error_Handler();
  }

  /* USER CODE END OCTOSPI2_Init 2 */

}

static void MX_GPIO_Init(void)
{
  GPIO_InitTypeDef GPIO_InitStruct = {0};

  /* GPIO Ports Clock Enable */
  __HAL_RCC_GPIOB_CLK_ENABLE();
  __HAL_RCC_GPIOG_CLK_ENABLE();
  __HAL_RCC_GPIOD_CLK_ENABLE();
  __HAL_RCC_GPIOE_CLK_ENABLE();
  __HAL_RCC_GPIOA_CLK_ENABLE();
  __HAL_RCC_GPIOC_CLK_ENABLE();
  __HAL_RCC_GPIOH_CLK_ENABLE();
  __HAL_RCC_GPIOF_CLK_ENABLE();

  /*Configure GPIO pin Output Level */
  HAL_GPIO_WritePin(GPIOG, LCD_BL_CTRL_Pin|RENDER_TIME_Pin, GPIO_PIN_RESET);

  /*Configure GPIO pin Output Level */
  HAL_GPIO_WritePin(GPIOB, MCU_ACTIVE_Pin|FRAME_RATE_Pin, GPIO_PIN_RESET);

  /*Configure GPIO pin Output Level */
  HAL_GPIO_WritePin(LCD_DISP_GPIO_Port, LCD_DISP_Pin, GPIO_PIN_RESET);

  /*Configure GPIO pin Output Level */
  HAL_GPIO_WritePin(GPIOC, GPIO_PIN_2, GPIO_PIN_SET);

  /*Configure GPIO pin Output Level */
  HAL_GPIO_WritePin(VSYNC_FREQ_GPIO_Port, VSYNC_FREQ_Pin, GPIO_PIN_RESET);

  /*Configure GPIO pin : PC13 */
  GPIO_InitStruct.Pin = GPIO_PIN_13;
  GPIO_InitStruct.Mode = GPIO_MODE_INPUT;
  GPIO_InitStruct.Pull = GPIO_NOPULL;
  HAL_GPIO_Init(GPIOC, &GPIO_InitStruct);

  /*Configure GPIO pin : LCD_BL_CTRL_Pin */
  GPIO_InitStruct.Pin = LCD_BL_CTRL_Pin;
  GPIO_InitStruct.Mode = GPIO_MODE_OUTPUT_PP;
  GPIO_InitStruct.Pull = GPIO_NOPULL;
  GPIO_InitStruct.Speed = GPIO_SPEED_FREQ_LOW;
  HAL_GPIO_Init(LCD_BL_CTRL_GPIO_Port, &GPIO_InitStruct);

  /*Configure GPIO pin : RENDER_TIME_Pin */
  GPIO_InitStruct.Pin = RENDER_TIME_Pin;
  GPIO_InitStruct.Mode = GPIO_MODE_OUTPUT_PP;
  GPIO_InitStruct.Pull = GPIO_NOPULL;
  GPIO_InitStruct.Speed = GPIO_SPEED_FREQ_VERY_HIGH;
  HAL_GPIO_Init(RENDER_TIME_GPIO_Port, &GPIO_InitStruct);

  /*Configure GPIO pins : MCU_ACTIVE_Pin FRAME_RATE_Pin */
  GPIO_InitStruct.Pin = MCU_ACTIVE_Pin|FRAME_RATE_Pin;
  GPIO_InitStruct.Mode = GPIO_MODE_OUTPUT_PP;
  GPIO_InitStruct.Pull = GPIO_NOPULL;
  GPIO_InitStruct.Speed = GPIO_SPEED_FREQ_VERY_HIGH;
  HAL_GPIO_Init(GPIOB, &GPIO_InitStruct);

  /*Configure GPIO pin : LCD_DISP_Pin */
  GPIO_InitStruct.Pin = LCD_DISP_Pin;
  GPIO_InitStruct.Mode = GPIO_MODE_OUTPUT_PP;
  GPIO_InitStruct.Pull = GPIO_NOPULL;
  GPIO_InitStruct.Speed = GPIO_SPEED_FREQ_LOW;
  HAL_GPIO_Init(LCD_DISP_GPIO_Port, &GPIO_InitStruct);

  /*Configure GPIO pin : PC2 LED*/
  GPIO_InitStruct.Pin = GPIO_PIN_2;
  GPIO_InitStruct.Mode = GPIO_MODE_OUTPUT_PP;
  GPIO_InitStruct.Pull = GPIO_NOPULL;
  GPIO_InitStruct.Speed = GPIO_SPEED_FREQ_LOW;
  HAL_GPIO_Init(GPIOC, &GPIO_InitStruct);
  /* Initialize the LED to OFF */
  HAL_GPIO_WritePin(GPIOC, GPIO_PIN_2, GPIO_PIN_RESET);

  /*Configure GPIO pin : VSYNC_FREQ_Pin */
  GPIO_InitStruct.Pin = VSYNC_FREQ_Pin;
  GPIO_InitStruct.Mode = GPIO_MODE_OUTPUT_PP;
  GPIO_InitStruct.Pull = GPIO_NOPULL;
  GPIO_InitStruct.Speed = GPIO_SPEED_FREQ_VERY_HIGH;
  HAL_GPIO_Init(VSYNC_FREQ_GPIO_Port, &GPIO_InitStruct);

/* USER CODE BEGIN MX_GPIO_Init_2 */
  // Configure GPIO pin for Button B2

  GPIO_InitStruct.Pin = GPIO_PIN_13;
  GPIO_InitStruct.Mode = GPIO_MODE_IT_FALLING;
  GPIO_InitStruct.Pull = GPIO_PULLUP;
  HAL_GPIO_Init(GPIOC, &GPIO_InitStruct);

  // Enable and set EXTI Line interrupt priority
  HAL_NVIC_SetPriority(EXTI15_10_IRQn, 2, 0);
  HAL_NVIC_EnableIRQ(EXTI15_10_IRQn);
/* USER CODE END MX_GPIO_Init_2 */
}

/* USER CODE BEGIN 4 */

void ResetPressureBuffer(void) {
   memset(&pressure_buffer, 0, sizeof(PressureBuffer));
}
// Add this function after other function declarations
void UpdatePressureBuffer(float new_pressure) {
   // Store the new pressure value
   pressure_buffer.pressure_values[pressure_buffer.write_index] = new_pressure;

   // Update write index
   pressure_buffer.write_index = (pressure_buffer.write_index + 1) % MAX_DATA_POINTS;

   // Update read index to maintain sliding window
   if (pressure_buffer.buffer_full) {
       pressure_buffer.read_index = (pressure_buffer.write_index + 1) % MAX_DATA_POINTS;
   }

   // Set buffer full flag if we've wrapped around
   if (pressure_buffer.write_index == 0) {
       pressure_buffer.buffer_full = true;
   }
}

int GetPressureHistory(float* output, int num_points) {
   if (num_points > MAX_DATA_POINTS) {
       num_points = MAX_DATA_POINTS;
   }

   int available_points = pressure_buffer.buffer_full ?
       MAX_DATA_POINTS : pressure_buffer.write_index;

   if (num_points > available_points) {
       num_points = available_points;
   }

   for (int i = 0; i < num_points; i++) {
       int read_index = (pressure_buffer.write_index - num_points + i + MAX_DATA_POINTS) % MAX_DATA_POINTS;
       output[i] = pressure_buffer.pressure_values[read_index];
   }

   return num_points;

}

// This function reads data from the pressure sensor over I2C
void ReadPressureData(void)
{

	uint8_t slave_address = 0x18 << 1;  // Shift left for 7-bit addressing mode
    uint8_t data_to_send[3] = {0xAA, 0x00,0x00};  // Data to send, to trigger a pressure reading
    // Buffer to store the response from the sensor (status byte + 3 data bytes)
    uint8_t data_buffer[4];

    // Transmit data to the I2C slave, // Send the command to the sensor
    if (HAL_I2C_Master_Transmit(&hi2c4, slave_address, data_to_send, sizeof(data_to_send), HAL_MAX_DELAY) == HAL_OK)
    {

    }

    // Wait for sensor to process the request (20 ms delay
    vTaskDelay(20);

    // Receive the response from the sensor
    if (HAL_I2C_Master_Receive(&hi2c4, slave_address, data_buffer, sizeof(data_buffer), HAL_MAX_DELAY) == HAL_OK)
    {
    	// Check if the busy flag is cleared in the status byte (Bit 5 AND 6 is 0)
        if (((data_buffer[0] & 0x20) == 0) &&(data_buffer[0] & 0x40))
        {
        	// Combine the data bytes into a 24-bit pressure value and store it in the global variable
        	pressure =  (data_buffer[1] << 16) | (data_buffer[2] << 8) | data_buffer[3];
        	ConvertToPressure(pressure);  // Convert raw data to pressure value
//            if(calculated_pressure < 0 )
//            	vTaskDelay(1);

        }
    }

}

// Convert raw data to pressure in psi
void ConvertToPressure(int32_t raw_output) {

    calculated_pressure = ((float)(raw_output - OUTPUT_MIN) / (OUTPUT_MAX - OUTPUT_MIN)) * (P_MAX - P_MIN) + P_MIN;

    // Convert to mmHg for further use
    pressure_mmhg = ConvertPressureToMMHg(calculated_pressure)-Calibration_value;

    // testing in the expressions window
    volatile float converted_pressure_psi = calculated_pressure;
    volatile float converted_pressure_mmhg = pressure_mmhg;
}
void CalibrateSensor() {
    // Perform this at atmospheric pressure
    Calibration_value = ConvertPressureToMMHg(calculated_pressure);
}

float ConvertPressureToMMHg(float pressure_psi) {
	return pressure_psi*PSI_TO_MMHG;
}

// Scale pressure for display on a 0-100 pixel graph
uint16_t ScalePressureForDisplay(float pressure) {
    float display_pressure = (pressure - P_MIN) / (P_MAX - P_MIN) * GRAPH_MAX_PIXEL;
    return (uint16_t)display_pressure;

}

// Task to continuously read pressure data from the sensor
void StartPressureTask(void *argument)
{
   ResetPressureBuffer();
//	ReadPressureData();  // Read raw pressure data into pressure
//	ReadPressureData();  // Read raw pressure data into pressure
//	ReadPressureData();  // Read raw pressure data into pressure
	Calibration_value = pressure_mmhg;
    for(;;)
    {

    	// Call the function to read pressure data and store in the global pressure variable
    	ReadPressureData();  // Read raw pressure data into pressure

    	ConvertToPressure(pressure);  // Convert raw data to psi
        // Update the circular buffer with new pressure value

    	// Control LED
    	if (pressure_mmhg >= PRESSURE_THRESHOLD)
    	{
    		HAL_GPIO_WritePin(GPIOC, GPIO_PIN_2, GPIO_PIN_SET);  // Turn LED ON
    		 volatile float debug_pressure = pressure_mmhg;
    	}
    	else
    	{
    		HAL_GPIO_WritePin(GPIOC, GPIO_PIN_2, GPIO_PIN_RESET);  // Turn LED OFF

    	}

        UpdatePressureBuffer(calculated_pressure);

    	// Convert calculated pressure to display scale
        //	scaled_pressure = ScalePressureForDisplay(calculated_pressure);  // Scale for display range
    	pressure_mmhg = ConvertPressureToMMHg(calculated_pressure); // Convert to mmHg
    	//	scaled_pressure = ScalePressureForDisplay(pressure_mmhg); // Scale for graph display

       // Optional: Reset buffer if it gets stuck
       if (pressure_buffer.write_index >= MAX_DATA_POINTS) {
           ResetPressureBuffer();
       }
        // Delay between readings (e.g., 100 ms)
        osDelay(pdMS_TO_TICKS(100));
    }
}

/* USER CODE END 4 */

void StartDefaultTask(void *argument)
{
  /* USER CODE BEGIN 5 */

  /* Infinite loop */
  for(;;)
  {

	  // Delay between reads (e.g., 100 ms for real-time reading)
	  osDelay(100);

  }
  /* USER CODE END 5 */
}

 /* MPU Configuration */

void MPU_Config(void)
{
  MPU_Region_InitTypeDef MPU_InitStruct = {0};

  /* Disables the MPU */
  HAL_MPU_Disable();

  /** Initializes and configures the Region and the memory to be protected
  */
  MPU_InitStruct.Enable = MPU_REGION_ENABLE;
  MPU_InitStruct.Number = MPU_REGION_NUMBER0;
  MPU_InitStruct.BaseAddress = 0x24000000;
  MPU_InitStruct.Size = MPU_REGION_SIZE_512KB;
  MPU_InitStruct.SubRegionDisable = 0x0;
  MPU_InitStruct.TypeExtField = MPU_TEX_LEVEL0;
  MPU_InitStruct.AccessPermission = MPU_REGION_FULL_ACCESS;
  MPU_InitStruct.DisableExec = MPU_INSTRUCTION_ACCESS_DISABLE;
  MPU_InitStruct.IsShareable = MPU_ACCESS_NOT_SHAREABLE;
  MPU_InitStruct.IsCacheable = MPU_ACCESS_CACHEABLE;
  MPU_InitStruct.IsBufferable = MPU_ACCESS_BUFFERABLE;

  HAL_MPU_ConfigRegion(&MPU_InitStruct);

  /** Initializes and configures the Region and the memory to be protected
  */
  MPU_InitStruct.Number = MPU_REGION_NUMBER1;
  MPU_InitStruct.BaseAddress = 0x70000000;
  MPU_InitStruct.Size = MPU_REGION_SIZE_512MB;
  MPU_InitStruct.AccessPermission = MPU_REGION_NO_ACCESS;
  MPU_InitStruct.IsCacheable = MPU_ACCESS_NOT_CACHEABLE;
  MPU_InitStruct.IsBufferable = MPU_ACCESS_NOT_BUFFERABLE;

  HAL_MPU_ConfigRegion(&MPU_InitStruct);

  /** Initializes and configures the Region and the memory to be protected
  */
  MPU_InitStruct.Number = MPU_REGION_NUMBER2;
  MPU_InitStruct.Size = MPU_REGION_SIZE_8MB;
  MPU_InitStruct.AccessPermission = MPU_REGION_FULL_ACCESS;
  MPU_InitStruct.IsCacheable = MPU_ACCESS_CACHEABLE;
  MPU_InitStruct.IsBufferable = MPU_ACCESS_BUFFERABLE;

  HAL_MPU_ConfigRegion(&MPU_InitStruct);

  /** Initializes and configures the Region and the memory to be protected
  */
  MPU_InitStruct.Number = MPU_REGION_NUMBER3;
  MPU_InitStruct.BaseAddress = 0x90000000;
  MPU_InitStruct.Size = MPU_REGION_SIZE_512MB;
  MPU_InitStruct.AccessPermission = MPU_REGION_NO_ACCESS;
  MPU_InitStruct.IsCacheable = MPU_ACCESS_NOT_CACHEABLE;
  MPU_InitStruct.IsBufferable = MPU_ACCESS_NOT_BUFFERABLE;

  HAL_MPU_ConfigRegion(&MPU_InitStruct);

  /** Initializes and configures the Region and the memory to be protected
  */
  MPU_InitStruct.Number = MPU_REGION_NUMBER4;
  MPU_InitStruct.Size = MPU_REGION_SIZE_64MB;
  MPU_InitStruct.AccessPermission = MPU_REGION_FULL_ACCESS;
  MPU_InitStruct.IsCacheable = MPU_ACCESS_CACHEABLE;

  HAL_MPU_ConfigRegion(&MPU_InitStruct);
  /* Enables the MPU */
  HAL_MPU_Enable(MPU_PRIVILEGED_DEFAULT);

}

void HAL_TIM_PeriodElapsedCallback(TIM_HandleTypeDef *htim)
{
  if (htim->Instance == TIM6) {
    HAL_IncTick();
  }
}

void Error_Handler(void)
{
}
